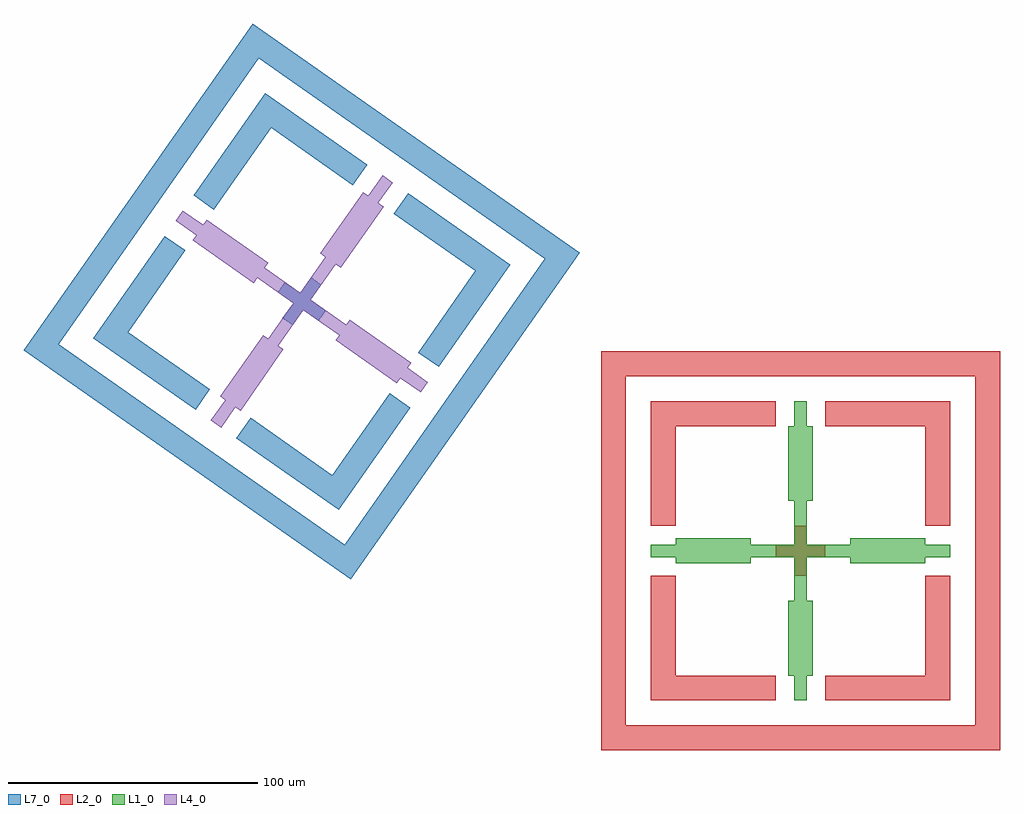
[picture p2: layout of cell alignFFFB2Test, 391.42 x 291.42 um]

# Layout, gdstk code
import gdstk
lib = gdstk.Library(unit=1e-6, precision=1e-09)
def P(c, l, *ps):  # polygons
    for p in ps: c.add(gdstk.Polygon(p, *l))
L1_0 = (1, 0)
L2_0 = (2, 0)
L4_0 = (4, 0)
L7_0 = (7, 0)

alignfffb2test = lib.new_cell('alignFFFB2Test')
P(alignfffb2test, L1_0, [(-2.5,-60),(-2.5,-50),(-5,-50),(-5,-20),(-2.5,-20),(-2.5,-2.5),(-20,-2.5),(-20,-5),(-50,-5),(-50,-2.5),(-60,-2.5),(-60,2.5),(-50,2.5),(-50,5),(-20,5),(-20,2.5),(-2.5,2.5),(-2.5,20),(-5,20),(-5,50),(-2.5,50),(-2.5,60),(2.5,60),(2.5,50),(5,50),(5,20),(2.5,20),(2.5,2.5),(20,2.5),(20,5),(50,5),(50,2.5),(60,2.5),(60,-2.5),(50,-2.5),(50,-5),(20,-5),(20,-2.5),(2.5,-2.5),(2.5,-20),(5,-20),(5,-50),(2.5,-50),(2.5,-60)])
P(alignfffb2test, L2_0, [(-2.5,-10),(-2.5,-2.5),(-10,-2.5),(-10,2.5),(-2.5,2.5),(-2.5,10),(2.5,10),(2.5,2.5),(10,2.5),(10,-2.5),(2.5,-2.5),(2.5,-10)],
  [(-80,-80),(-80,-70),(70,-70),(70,70),(-70,70),(-70,-70),(-80,-70),(-80,80),(80,80),(80,-80)],
  [(-60,-60),(-60,-10),(-50,-10),(-50,-50),(-10,-50),(-10,-60)],
  [(10,-60),(10,-50),(50,-50),(50,-10),(60,-10),(60,-60)],
  [(-60,10),(-60,60),(-10,60),(-10,50),(-50,50),(-50,10)],
  [(50,10),(50,50),(10,50),(10,60),(60,60),(60,10)])
P(alignfffb2test, L4_0, [(-232.367,49.417),(-236.462,52.285),(-230.727,60.476),(-232.775,61.91),(-215.567,86.485),(-213.519,85.051),(-203.482,99.386),(-217.817,109.424),(-219.251,107.376),(-243.825,124.583),(-242.392,126.631),(-250.583,132.367),(-247.715,136.462),(-239.524,130.727),(-238.09,132.775),(-213.515,115.567),(-214.949,113.519),(-200.614,103.482),(-190.576,117.817),(-192.624,119.251),(-175.417,143.825),(-173.369,142.392),(-167.633,150.583),(-163.538,147.715),(-169.273,139.524),(-167.225,138.09),(-184.433,113.515),(-186.481,114.949),(-196.518,100.614),(-182.183,90.576),(-180.749,92.624),(-156.175,75.417),(-157.608,73.369),(-149.417,67.633),(-152.285,63.538),(-160.476,69.273),(-161.91,67.225),(-186.485,84.433),(-185.051,86.481),(-199.386,96.518),(-209.424,82.183),(-207.376,80.749),(-224.583,56.175),(-226.631,57.608)])
P(alignfffb2test, L7_0, [(-203.688,90.375),(-207.784,93.242),(-203.482,99.386),(-209.625,103.688),(-206.758,107.784),(-200.614,103.482),(-196.312,109.625),(-192.216,106.758),(-196.518,100.614),(-190.375,96.312),(-193.242,92.216),(-199.386,96.518)],
  [(-180.354,-11.418),(-200.244,2.509),(-182.81,2.509),(-102.509,117.19),(-217.19,197.491),(-297.491,82.81),(-182.81,2.509),(-200.244,2.509),(-311.418,80.354),(-219.646,211.418),(-88.582,119.646)],
  [(-185.265,16.436),(-226.223,45.115),(-220.487,53.307),(-187.721,30.364),(-164.778,63.13),(-156.587,57.394)],
  [(-242.606,56.587),(-283.564,85.265),(-254.885,126.223),(-246.693,120.487),(-269.636,87.721),(-236.87,64.778)],
  [(-145.115,73.777),(-153.307,79.513),(-130.364,112.279),(-163.13,135.222),(-157.394,143.413),(-116.436,114.735)],
  [(-235.222,136.87),(-243.413,142.606),(-214.735,183.564),(-173.777,154.885),(-179.513,146.693),(-212.279,169.636)])

lib.write_gds('alignFFFB2Test.gds')
